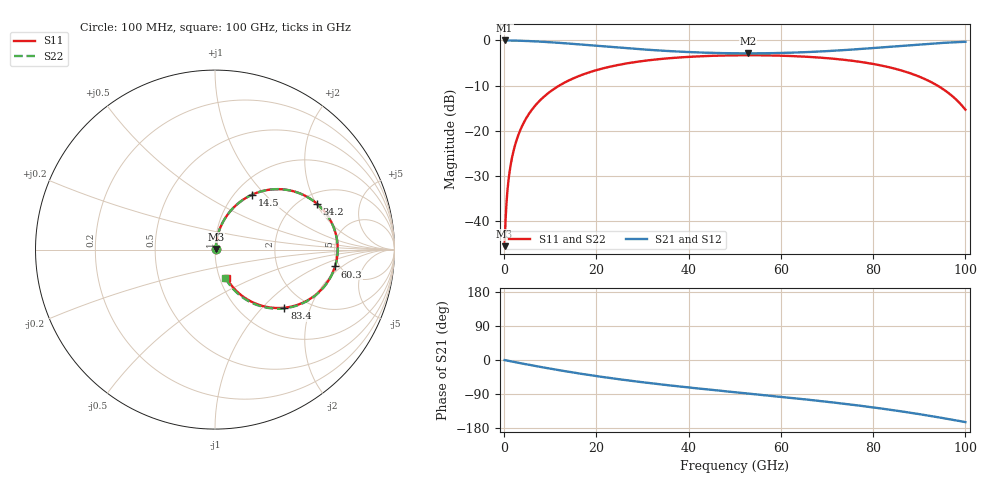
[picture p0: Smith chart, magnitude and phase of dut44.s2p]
! Touchstone file exported from HFSS 2026.1.0
!  File:  C:/ffzhzh/LocalFiles/Ansys_Project_Files/temp_train_RDL_44_1783498190_31944.aedt
!  Generated:  04:11:03 PM Jul  8, 2026
!  Design:  RDL
!  Project:  temp_train_RDL_44_1783498190_31944
! Variables:
!  h_bsmrdl = 2um
!  h_ox = 20um
!  h_rdl = 5um
!  h_sub = 80um
!  h_tmrdl = 4.43um
!  h_tsv = 80um
!  h_via = 3um
!  l_bsmrdl = 300um
!  l_sub = 970.71um
!  l_tmrdl = 570.71um
!  m_sub = 200um
!  pitch = 43.43um
!  r_tsv = 6um
!  s_tmrdl = 10um
!  w_bsmrdl = 18um
!  w_sub = 500um
!  w_tmrdl = 10.48um
!  x_tsv_center1 = 575.95um
!  x_tsv_center2 = 893.95um
!  x_tsv_center3 = 1475.14um
!  x_tsv_center4 = 1793.14um
!  x_tsv_center5 = 2374.33um
!  x_tsv_center6 = 2692.33um
# GHz S MA R 50.000000
! Terminal data exported
! Port[1] = TM_RDL1_1_T1
! Port[2] = TM_RDL1_1_T2
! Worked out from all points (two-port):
!   1000 points, 100 MHz to 100 GHz, reference 50 ohm
!   highest |S21| = -0.04 dB at 100 MHz (marker M1); lowest = -2.9 dB at 52.9 GHz (marker M2)
!   |S21| within 3 dB of the highest: start of sweep to end of sweep
!   lowest |S11| = -45.5 dB at 100 MHz (marker M3), VSWR 1.01, Z = 50.4 + j0.307 ohm
!   |S11| at or under -10 dB: start of sweep to 11.96 GHz; 93.94 GHz to end of sweep
!   |S22| runs from -45.5 to -3.3 dB; largest |S21 - S12| = 1.7e-14
!   S11 on the Smith chart (normalised r, x): 100 MHz: 1.01, +0.01; 14.5 GHz: 1.20, +0.85; 34.2 GHz: 2.43, +2.03; 60.3 GHz: 4.59, -1.58; 83.4 GHz: 1.55, -1.35; 100 GHz: 1.08, -0.35
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0.1  0.005327 34.8  0.9956 -0.2  0.9956 -0.2  0.005327 34.8
! Gamma 0 0 0 0
! Port Impedance 50 0 50 0
0.9  0.02723 77.5  0.9947 -2.2  0.9947 -2.2  0.02723 77.5
1.4  0.04168 79.6  0.994 -3.4  0.994 -3.4  0.04168 79.5
2.3  0.0677 79.8  0.9921 -5.5  0.9921 -5.5  0.0677 79.7
3.6  0.1048 77.9  0.988 -8.6  0.988 -8.6  0.1048 77.9
5.4  0.1546 74.4  0.9801 -12.7  0.9801 -12.7  0.1546 74.4
7.8  0.2175 69.4  0.9664 -18.1  0.9664 -18.1  0.2175 69.3
10.8  0.2901 63.2  0.9456 -24.6  0.9456 -24.6  0.2901 63.2
14.5  0.3699 55.9  0.9162 -32.1  0.9162 -32.1  0.3699 55.9
16.8  0.4139 51.6  0.8969 -36.5  0.8969 -36.5  0.4139 51.6
24.3  0.5286 38.8  0.8347 -49.8  0.8347 -49.8  0.5286 38.7
33.4  0.6176 25.3  0.7725 -63.6  0.7725 -63.6  0.6176 25.2
34.2  0.6233 24.2  0.7681 -64.7  0.7681 -64.7  0.6233 24.1
50.1  0.6823 4.2  0.7183 -85.1  0.7183 -85.1  0.6823 4.0
52.9  0.6836 0.9  0.7171 -88.5  0.7171 -88.5  0.6837 0.7
60.3  0.6751 -8.0  0.725 -97.6  0.725 -97.6  0.6752 -8.2
66.7  0.6526 -15.9  0.7446 -105.8  0.7446 -105.8  0.6527 -16.2
74.9  0.5989 -27.0  0.7865 -117.2  0.7865 -117.2  0.5989 -27.4
83.4  0.5046 -39.9  0.8467 -130.8  0.8467 -130.8  0.5046 -40.5
93.1  0.3343 -56.7  0.9221 -149.1  0.9221 -149.1  0.3342 -57.7
96.7  0.253 -63.1  0.9456 -156.6  0.9456 -156.6  0.2528 -64.4
100  0.1714 -68.0  0.962 -163.9  0.962 -163.9  0.171 -70.0
